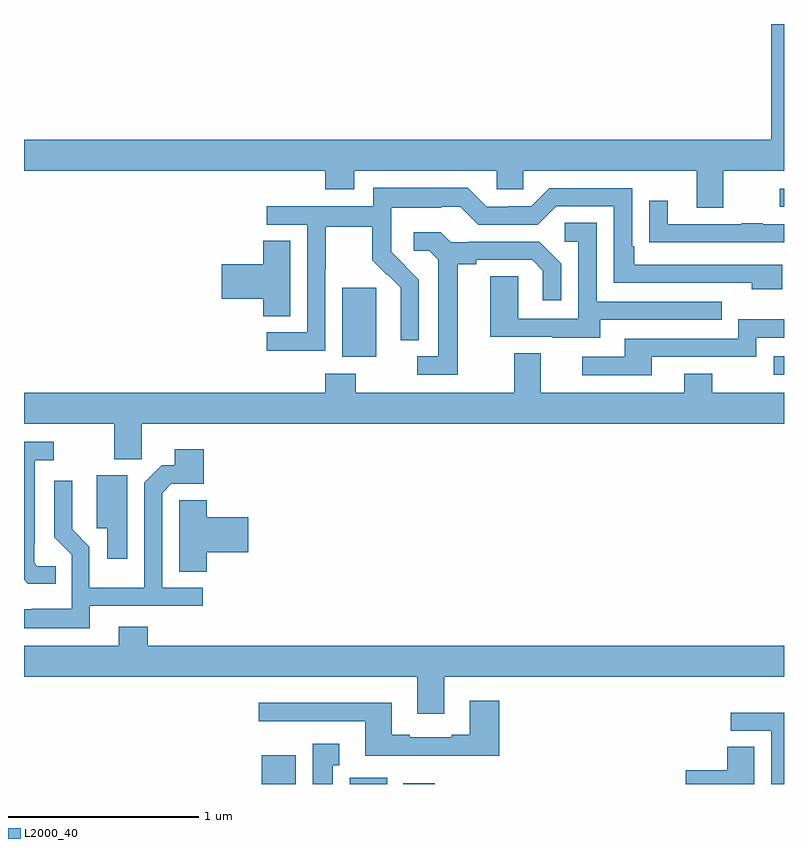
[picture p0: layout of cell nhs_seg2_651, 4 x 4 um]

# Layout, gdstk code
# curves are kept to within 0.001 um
import gdstk
lib = gdstk.Library(unit=1e-6, precision=1e-09)
def R(c, l, rs):  # rectangles x0, y0, x1, y1
    for r in rs: c.add(gdstk.rectangle(r[:2], r[2:], *l))
def P(c, l, *ps):  # polygons
    for p in ps: c.add(gdstk.Polygon(p, *l))
L2000_40 = (2000, 40)

nhs_seg2_651 = lib.new_cell('nhs_seg2_651')
R(nhs_seg2_651, L2000_40, [(146.252,585.8,146.431,585.952), (146.714,585.8,146.911,585.832), (146.996,585.8,147.163,585.805), (148.947,587.955,149,588.051), (146.675,588.05,146.854,588.411), (148.977,588.837,149,588.933)])
P(nhs_seg2_651, L2000_40, [(145,589.028),(146.585,589.028),(146.585,588.929),(146.737,588.929),(146.737,589.028),(147.489,589.028),(147.489,588.93),(147.627,588.93),(147.627,589.028),(148.541,589.028),(148.541,588.834),(148.681,588.834),(148.681,589.028),(149,589.028),(149,589.8),(148.934,589.8),(148.934,589.192),(145,589.192)],
  [(146.586,588.508),(146.589,588.508),(146.589,588.732),(146.833,588.732),(146.833,588.557),(146.91,588.48),(146.913,588.483),(146.984,588.413),(146.984,588.29),(146.982,588.29),(146.982,588.136),(147.078,588.136),(147.078,588.454),(146.932,588.602),(146.932,588.699),(146.934,588.699),(146.934,588.833),(147.197,588.833),(147.197,588.837),(147.297,588.837),(147.39,588.744),(147.705,588.744),(147.801,588.84),(148.104,588.84),(148.104,588.438),(148.829,588.438),(148.829,588.404),(148.99,588.404),(148.99,588.534),(148.213,588.534),(148.213,588.631),(148.2,588.631),(148.2,588.936),(147.765,588.936),(147.669,588.84),(147.551,588.84),(147.551,588.837),(147.435,588.837),(147.335,588.937),(146.838,588.937),(146.838,588.84),(146.277,588.84),(146.277,588.744),(146.49,588.744),(146.49,588.177),(146.277,588.177),(146.277,588.079),(146.586,588.079)],
  [(149,588.747),(148.889,588.747),(148.889,588.752),(148.777,588.752),(148.777,588.747),(148.387,588.747),(148.387,588.871),(148.291,588.871),(148.291,588.652),(148.393,588.652),(148.393,588.651),(149,588.651)],
  [(148.033,588.243),(148.673,588.243),(148.673,588.339),(148.014,588.339),(148.014,588.755),(147.846,588.755),(147.846,588.654),(147.918,588.654),(147.918,588.249),(147.6,588.249),(147.6,588.473),(147.455,588.473),(147.455,588.153),(147.779,588.153),(147.779,588.149),(148.033,588.149)],
  [(147.283,588.536),(147.379,588.536),(147.379,588.558),(147.674,588.558),(147.731,588.501),(147.731,588.345),(147.828,588.345),(147.828,588.538),(147.712,588.654),(147.34,588.654),(147.34,588.651),(147.246,588.651),(147.194,588.703),(147.051,588.703),(147.051,588.606),(147.132,588.606),(147.179,588.559),(147.179,588.051),(147.069,588.051),(147.069,587.955),(147.283,587.955)],
  [(146.401,588.659),(146.258,588.659),(146.258,588.536),(146.04,588.536),(146.04,588.353),(146.258,588.353),(146.258,588.262),(146.401,588.262)],
  [(148.303,588.048),(148.854,588.048),(148.854,588.15),(149,588.15),(149,588.247),(148.758,588.247),(148.758,588.144),(148.163,588.144),(148.163,588.048),(147.939,588.048),(147.939,587.952),(148.303,587.952)],
  [(145.62,587.696),(149,587.696),(149,587.86),(148.623,587.86),(148.623,587.959),(148.475,587.959),(148.475,587.86),(147.721,587.86),(147.721,588.068),(147.581,588.068),(147.581,587.86),(146.745,587.86),(146.745,587.959),(146.585,587.959),(146.585,587.86),(145,587.86),(145,587.696),(145.474,587.696),(145.474,587.509),(145.62,587.509)],
  [(145.166,586.947),(145.071,586.947),(145.053,586.965),(145.053,587.065),(145.057,587.065),(145.057,587.505),(145.156,587.505),(145.156,587.601),(145,587.601),(145,586.875),(145.02,586.855),(145.166,586.855)],
  [(145.345,586.737),(145.942,586.737),(145.942,586.833),(145.728,586.833),(145.728,587.331),(145.776,587.379),(145.946,587.379),(145.946,587.563),(145.793,587.563),(145.793,587.478),(145.725,587.478),(145.632,587.385),(145.632,586.834),(145.344,586.834),(145.344,587.05),(145.253,587.142),(145.254,587.395),(145.158,587.395),(145.158,587.1),(145.251,587.007),(145.251,586.723),(145.042,586.723),(145.042,586.719),(145,586.719),(145,586.619),(145.345,586.619)],
  [(145.543,587.424),(145.382,587.424),(145.382,587.145),(145.439,587.145),(145.439,586.986),(145.543,586.986)],
  [(145.961,587.021),(146.179,587.021),(146.179,587.204),(145.961,587.204),(145.961,587.294),(145.818,587.294),(145.818,587.186),(145.817,587.186),(145.817,586.918),(145.961,586.918)],
  [(147.211,586.364),(149,586.364),(149,586.528),(145.652,586.528),(145.652,586.627),(145.499,586.627),(145.499,586.528),(145,586.528),(145,586.364),(147.071,586.364),(147.071,586.17),(147.211,586.17)],
  [(147.5,586.237),(147.347,586.237),(147.347,586.06),(147.251,586.06),(147.251,586.047),(147.031,586.047),(147.031,586.06),(146.935,586.06),(146.935,586.228),(146.235,586.228),(146.235,586.131),(146.795,586.131),(146.795,585.95),(147.5,585.95)],
  [(149,586.176),(148.719,586.176),(148.719,586.08),(148.932,586.08),(148.932,585.8),(149,585.8)],
  [(146.626,585.899),(146.659,585.899),(146.659,586.012),(146.519,586.012),(146.519,585.8),(146.626,585.8)],
  [(148.843,585.995),(148.7,585.995),(148.7,585.872),(148.482,585.872),(148.482,585.8),(148.843,585.8)])

lib.write_gds('nhs_seg2_651.gds')
